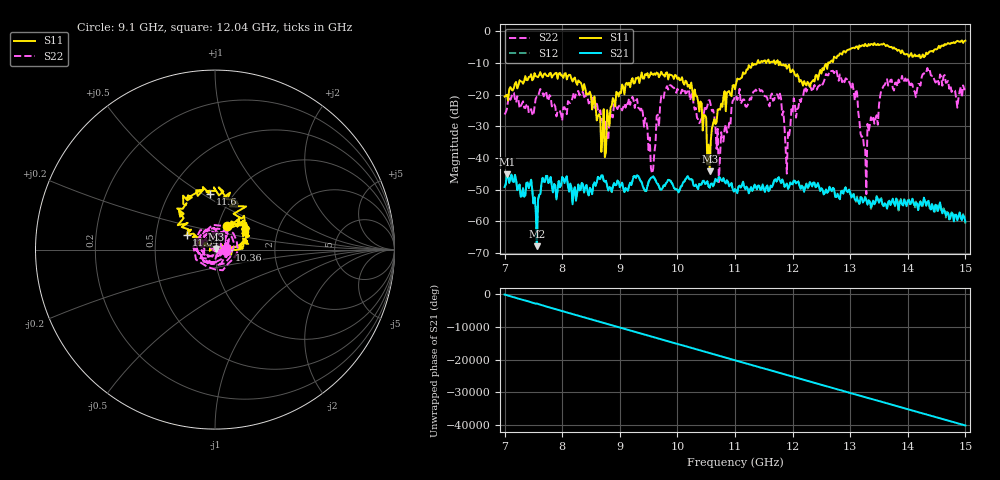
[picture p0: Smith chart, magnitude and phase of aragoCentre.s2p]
!Keysight Technologies,N5242B,MY47200105,A.14.00.23
!Date: Friday, April 26, 2024 11:19:46
!Correction: S11(C  2-Port  )
!S21(C  2-Port  )
!S12(C  2-Port  )
!S22(C  2-Port  )
!S2P File: Measurement: :
# Hz S  RI  R 50
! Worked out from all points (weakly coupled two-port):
!   401 points, 7 GHz to 15 GHz, reference 50 ohm
!   highest |S21| = -45.18 dB at 7.04 GHz (marker M1); lowest = -67.9 dB at 7.56 GHz (marker M2)
!   lowest |S11| = -44.2 dB at 10.56 GHz (marker M3), VSWR 1.01, Z = 50.5 + j0.356 ohm
!   |S11| at or under -10 dB: start of sweep to 11.38 GHz; 11.41898 GHz to 11.42993 GHz (10.95 MHz wide, 0.0958 % of centre); 11.79 GHz to 12.62 GHz (831.9 MHz wide, 6.82 % of centre) (the widest 3 of 8)
!   |S22| runs from -51.4 to -11.6 dB; largest |S21 - S12| = 0.00024
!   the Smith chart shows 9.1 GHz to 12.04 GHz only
!   S11 on the Smith chart (normalised r, x): 9.1 GHz: 1.11, +0.29; 10.36 GHz: 1.17, +0.00; 11.04 GHz: 0.72, +0.12; 11.6 GHz: 0.78, +0.54; 12.04 GHz: 1.36, +0.33
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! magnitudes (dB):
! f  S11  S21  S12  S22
! 7 GHz  -20.6  -49.2  -49.2  -26.3
! 7.04 GHz  -20.1  -45.2  -45.2  -24.6
! 7.56 GHz  -14.3  -67.9  -67.6  -20.7
! 8.34 GHz  -17.1  -47.9  -48.0  -19.0
! 8.72 GHz  -24.6  -47.1  -47.2  -31.1
! 9.1 GHz  -16.7  -49.5  -49.5  -24.2
! 9.58 GHz  -13.8  -45.9  -45.8  -43.5
! 9.68 GHz  -14.6  -49.0  -49.0  -30.1
! 9.9 GHz  -13.9  -47.8  -47.9  -17.3
! 10.36 GHz  -22.2  -49.9  -49.9  -27.8
! 10.56 GHz  -44.2  -49.4  -49.4  -21.8
! 10.76 GHz  -22.9  -47.0  -47.1  -31.9
! 11 GHz  -18.3  -49.9  -49.8  -20.5
! 11.04 GHz  -15.0  -51.2  -51.1  -21.7
! 11.6 GHz  -10.1  -50.2  -50.3  -23.7
! 11.9 GHz  -11.8  -48.1  -48.1  -45.0
! 12.04 GHz  -13.8  -47.3  -47.2  -23.1
! 12.34 GHz  -15.9  -49.0  -49.0  -19.1
! 13 GHz  -5.7  -50.8  -51.2  -16.8
! 13.24 GHz  -4.7  -53.5  -53.5  -36.5
! 13.68 GHz  -5.0  -53.5  -53.8  -16.6
! 15 GHz  -3.0  -60.1  -60.7  -18.5
